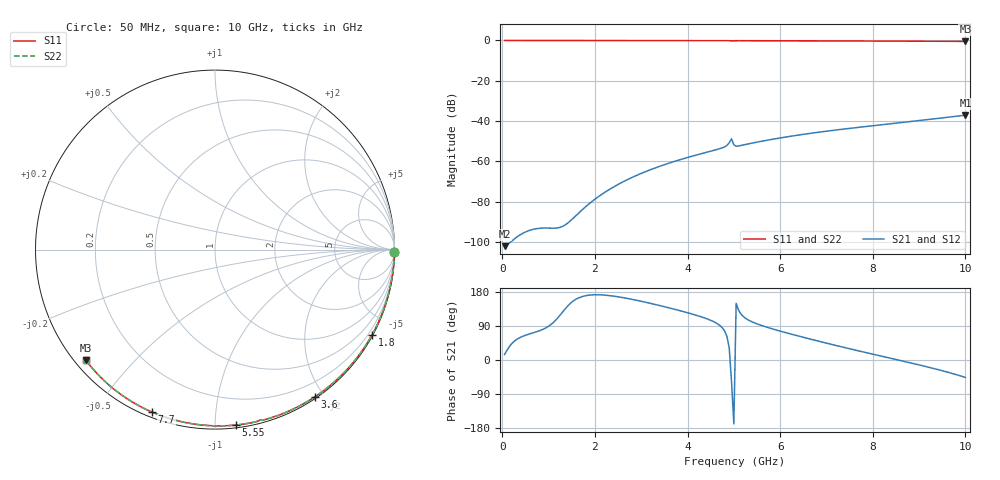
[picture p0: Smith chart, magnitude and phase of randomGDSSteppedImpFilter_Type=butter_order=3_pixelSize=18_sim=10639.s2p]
! freq	dB(S11)	phase(S11)	dB(S12)	phase(S12)
!  dB(S21)	phase(S21)	dB(S22)	phase(S22)
!S-par simulation data
#  GHz  S  DB  R 50
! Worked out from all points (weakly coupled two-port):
!   200 points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, 50 MHz to 10 GHz, reference 50 ohm
!   highest |S21| = -37.04 dB at 10 GHz (marker M1); lowest = -102.0 dB at 50 MHz (marker M2)
!   lowest |S11| = -0.5 dB at 10 GHz (marker M3), VSWR 37.06, Z = 1.53 - j18.5 ohm
!   |S11| at or under -10 dB: nowhere
!   |S22| runs from -0.5 to 0.0 dB; largest |S21 - S12| = 0
!   S11 on the Smith chart (normalised r, x): 50 MHz: open; 1.8 GHz: 0.03, -3.92; 3.6 GHz: 0.02, -1.89; 5.55 GHz: 0.02, -1.12; 7.7 GHz: 0.02, -0.68; 10 GHz: 0.03, -0.37
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0.05  -0.00 -0.8  -101.99 14.4  -101.99 14.4  -0.00 -0.8
0.9  -0.02 -14.4  -92.99 82.2  -92.99 82.2  -0.02 -14.4
1.75  -0.04 -27.8  -83.44 168.2  -83.44 168.2  -0.04 -27.8
1.8  -0.04 -28.6  -82.42 169.7  -82.42 169.7  -0.04 -28.6
1.9  -0.04 -30.2  -80.50 171.5  -80.50 171.5  -0.04 -30.2
1.95  -0.04 -30.9  -79.59 171.9  -79.59 171.9  -0.04 -30.9
2.25  -0.05 -35.6  -74.75 170.8  -74.75 170.8  -0.05 -35.6
2.55  -0.05 -40.2  -70.76 165.8  -70.76 165.8  -0.05 -40.2
2.95  -0.06 -46.2  -66.39 156.3  -66.39 156.3  -0.06 -46.2
3.4  -0.07 -52.9  -62.38 143.7  -62.38 143.7  -0.07 -52.9
3.6  -0.08 -55.9  -60.82 137.6  -60.82 137.6  -0.08 -55.9
4.75  -0.11 -72.4  -53.23 85.0  -53.23 85.0  -0.11 -72.4
4.85  -0.11 -73.8  -52.07 62.6  -52.07 62.6  -0.11 -73.8
4.9  -0.13 -74.6  -50.73 32.2  -50.73 32.2  -0.13 -74.6
4.95  -0.17 -75.2  -48.76 -57.8  -48.76 -57.8  -0.17 -75.2
5  -0.14 -75.6  -51.70 -168.6  -51.70 -168.6  -0.14 -75.6
5.05  -0.12 -76.4  -52.44 149.6  -52.44 149.6  -0.12 -76.4
5.55  -0.14 -83.3  -50.18 93.2  -50.18 93.2  -0.14 -83.3
6.7  -0.19 -98.5  -45.89 53.6  -45.89 53.6  -0.19 -98.5
7.7  -0.26 -111.2  -43.07 23.9  -43.07 23.9  -0.26 -111.2
8.35  -0.31 -119.3  -41.42 5.6  -41.42 5.6  -0.31 -119.3
10  -0.47 -139.4  -37.04 -46.0  -37.04 -46.0  -0.47 -139.4
